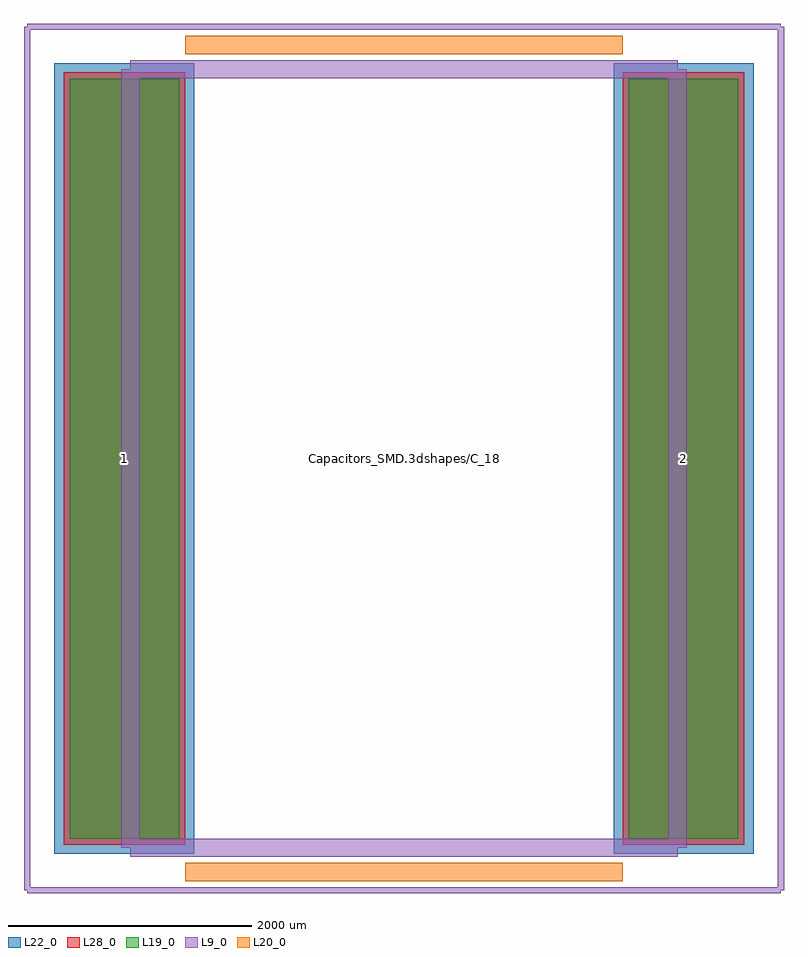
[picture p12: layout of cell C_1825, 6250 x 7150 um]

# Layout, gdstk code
import gdstk
lib = gdstk.Library(unit=1e-6, precision=1e-09)
def R(c, l, rs):  # rectangles x0, y0, x1, y1
    for r in rs: c.add(gdstk.rectangle(r[:2], r[2:], *l))
L9_0 = (9, 0)
L19_0 = (19, 0)
L20_0 = (20, 0)
L22_0 = (22, 0)
L28_0 = (28, 0)

c_1825 = lib.new_cell('C_1825')
R(c_1825, L19_0, [(-2750,-3125,-1850,3125), (1850,-3125,2750,3125)])
R(c_1825, L22_0, [(-2875,-3250,-1725,3250), (1725,-3250,2875,3250)])
R(c_1825, L28_0, [(-2800,-3175,-1800,3175), (1800,-3175,2800,3175)])
c_1825.add(gdstk.FlexPath([(-1800,-3400),(1800,-3400)], 149.998, ends="flush", simple_path=True, layer=20, datatype=0))  # L20_0
c_1825.add(gdstk.FlexPath([(1800,3400),(-1800,3400)], 149.998, ends="flush", simple_path=True, layer=20, datatype=0))  # L20_0
c_1825.add(gdstk.FlexPath([(3100,3550),(3100,-3550)], 50, ends="flush", simple_path=True, layer=9, datatype=0))  # L9_0
c_1825.add(gdstk.FlexPath([(-3100,3550),(-3100,-3550)], 50, ends="flush", simple_path=True, layer=9, datatype=0))  # L9_0
c_1825.add(gdstk.FlexPath([(-3100,-3550),(3100,-3550)], 50, ends="flush", simple_path=True, layer=9, datatype=0))  # L9_0
c_1825.add(gdstk.FlexPath([(-3100,3550),(3100,3550)], 50, ends="flush", simple_path=True, layer=9, datatype=0))  # L9_0
c_1825.add(gdstk.FlexPath([(-2250,3200),(2250,3200)], 149.998, ends="flush", simple_path=True, layer=9, datatype=0))  # L9_0
c_1825.add(gdstk.FlexPath([(2250,3200),(2250,-3200)], 149.998, ends="flush", simple_path=True, layer=9, datatype=0))  # L9_0
c_1825.add(gdstk.FlexPath([(2250,-3200),(-2250,-3200)], 149.998, ends="flush", simple_path=True, layer=9, datatype=0))  # L9_0
c_1825.add(gdstk.FlexPath([(-2250,-3200),(-2250,3200)], 149.998, ends="flush", simple_path=True, layer=9, datatype=0))  # L9_0
c_1825.add(gdstk.Label('Capacitors_SMD.3dshapes/C_1825.wrl', (0,0), layer=12, texttype=0))
c_1825.add(gdstk.Label('2', (2300,0), layer=28, texttype=0))
c_1825.add(gdstk.Label('1', (-2300,0), layer=28, texttype=0))
c_1825.add(gdstk.Label('type', (0,-4700), layer=9, texttype=0))
c_1825.add(gdstk.Label('devicename', (0,4700), layer=9, texttype=0))

lib.write_gds('C_1825.gds')
